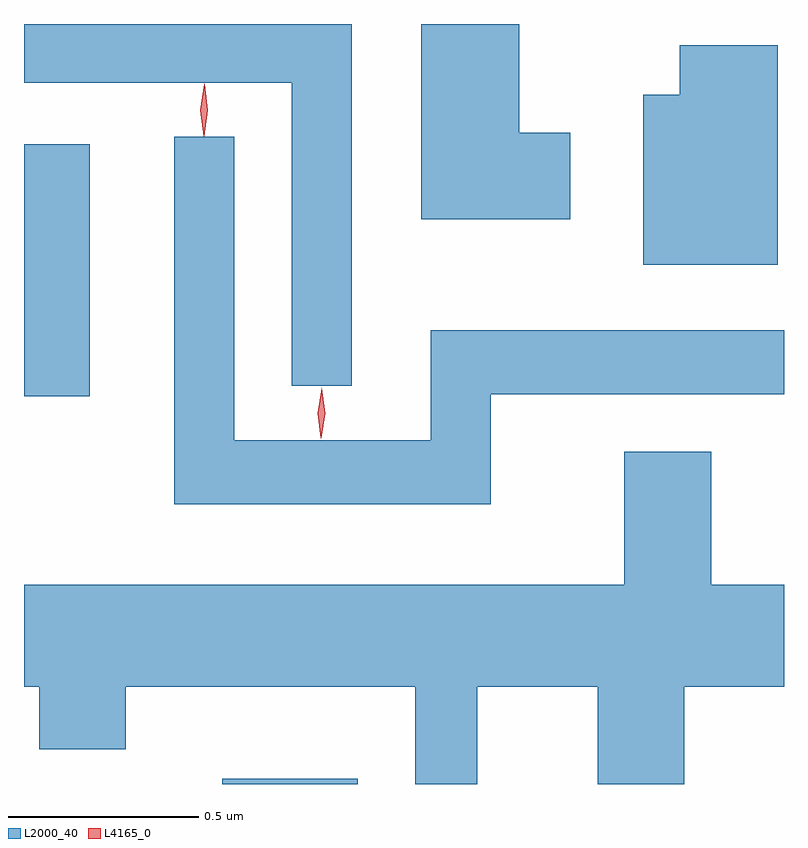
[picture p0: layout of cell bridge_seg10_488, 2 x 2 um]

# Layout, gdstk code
import gdstk
lib = gdstk.Library(unit=1e-6, precision=1e-09)
def R(c, l, rs):  # rectangles x0, y0, x1, y1
    for r in rs: c.add(gdstk.rectangle(r[:2], r[2:], *l))
def P(c, l, *ps):  # polygons
    for p in ps: c.add(gdstk.Polygon(p, *l))
L2000_40 = (2000, 40)
L4165_0 = (4165, 0)

bridge_seg10_488 = lib.new_cell('bridge_seg10_488')
R(bridge_seg10_488, L2000_40, [(1444.283,2126.98,1444.639,2126.994), (1443.761,2128.001,1443.934,2128.664)])
P(bridge_seg10_488, L2000_40, [(1444.624,2128.98),(1443.761,2128.98),(1443.761,2128.826),(1444.466,2128.826),(1444.466,2128.028),(1444.624,2128.028)],
  [(1445.199,2128.694),(1445.064,2128.694),(1445.064,2128.98),(1444.806,2128.98),(1444.806,2128.466),(1445.199,2128.466)],
  [(1445.744,2128.924),(1445.486,2128.924),(1445.486,2128.794),(1445.391,2128.794),(1445.391,2128.346),(1445.744,2128.346)],
  [(1444.989,2128.006),(1445.761,2128.006),(1445.761,2128.174),(1444.831,2128.174),(1444.831,2127.884),(1444.314,2127.884),(1444.314,2128.683),(1444.156,2128.683),(1444.156,2127.716),(1444.989,2127.716)],
  [(1444.954,2127.236),(1445.271,2127.236),(1445.271,2126.98),(1445.499,2126.98),(1445.499,2127.236),(1445.761,2127.236),(1445.761,2127.504),(1445.569,2127.504),(1445.569,2127.854),(1445.341,2127.854),(1445.341,2127.504),(1443.761,2127.504),(1443.761,2127.236),(1443.801,2127.236),(1443.801,2127.071),(1444.029,2127.071),(1444.029,2127.236),(1444.791,2127.236),(1444.791,2126.98),(1444.954,2126.98)])
P(bridge_seg10_488, L4165_0, [(1444.234,2128.684),(1444.225,2128.753),(1444.235,2128.822),(1444.235,2128.823),(1444.236,2128.822),(1444.245,2128.753),(1444.235,2128.684),(1444.235,2128.684)],
  [(1444.542,2127.89),(1444.534,2127.956),(1444.544,2128.022),(1444.545,2128.023),(1444.545,2128.022),(1444.554,2127.956),(1444.543,2127.89),(1444.543,2127.89)])

lib.write_gds('bridge_seg10_488.gds')
